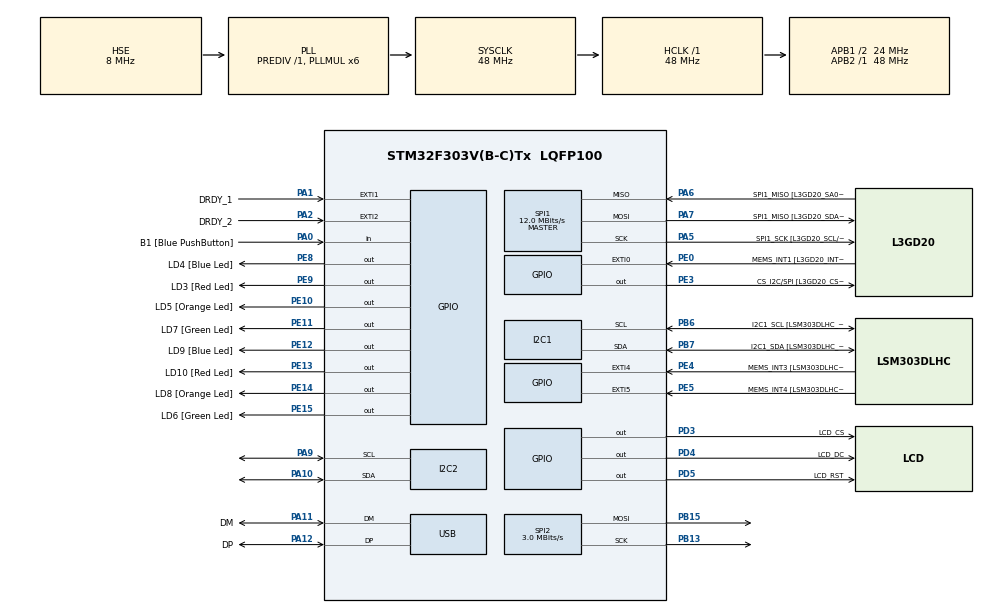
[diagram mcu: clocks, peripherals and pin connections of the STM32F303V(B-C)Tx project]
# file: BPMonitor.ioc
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Dma.Request0=SPI2_TX
Dma.SPI2_TX.0.Direction=DMA_MEMORY_TO_PERIPH
Dma.SPI2_TX.0.Instance=DMA1_Channel5
Dma.SPI2_TX.0.MemDataAlignment=DMA_MDATAALIGN_BYTE
Dma.SPI2_TX.0.MemInc=DMA_MINC_ENABLE
Dma.SPI2_TX.0.Mode=DMA_NORMAL
Dma.SPI2_TX.0.PeriphDataAlignment=DMA_PDATAALIGN_BYTE
Dma.SPI2_TX.0.PeriphInc=DMA_PINC_DISABLE
Dma.SPI2_TX.0.Priority=DMA_PRIORITY_LOW
I2C1.Timing=0x00201D2B
I2C1.Timing-I2C=0x2000090E
I2C2.Timing=0x00201D2B
Mcu.Family=STM32F3
Mcu.Name=STM32F303V(B-C)Tx
Mcu.Package=LQFP100
NVIC.DMA1_Channel5_IRQn=true\:0\:0\:false\:false\:true\:false\:true\:true
NVIC.EXTI1_IRQn=true\:0\:0\:false\:false\:true\:true\:true\:true
NVIC.EXTI2_TSC_IRQn=true\:0\:0\:false\:false\:true\:true\:true\:true
NVIC.I2C2_ER_IRQn=true\:0\:0\:false\:false\:true\:true\:true\:true
NVIC.I2C2_EV_IRQn=true\:0\:0\:false\:false\:true\:true\:true\:true
NVIC.PriorityGroup=NVIC_PRIORITYGROUP_0
NVIC.SPI2_IRQn=true\:0\:0\:false\:false\:true\:true\:true\:true
PA0.GPIO_Label=B1 [Blue PushButton]
PA0.Signal=GPIO_Input
PA1.GPIO_Label=DRDY_1
PA1.GPIO_ModeDefaultEXTI=GPIO_MODE_IT_FALLING
PA1.GPIO_PuPd=GPIO_PULLUP
PA1.Signal=GPXTI1
PA10.GPIO_Pu=GPIO_PULLUP
PA10.Mode=I2C
PA10.Signal=I2C2_SDA
PA11.GPIO_Label=DM
PA11.Mode=Device
PA11.Signal=USB_DM
PA12.GPIO_Label=DP
PA12.Mode=Device
PA12.Signal=USB_DP
PA13.GPIO_Label=SWDIO
PA13.Mode=Trace_Asynchronous_SW
PA13.Signal=SYS_JTMS-SWDIO
PA14.GPIO_Label=SWCLK
PA14.Mode=Trace_Asynchronous_SW
PA14.Signal=SYS_JTCK-SWCLK
PA2.GPIO_Label=DRDY_2
PA2.GPIO_ModeDefaultEXTI=GPIO_MODE_IT_FALLING
PA2.GPIO_PuPd=GPIO_PULLUP
PA2.Signal=GPXTI2
PA5.GPIO_Label=SPI1_SCK [L3GD20_SCL/SPC]
PA5.Mode=Full_Duplex_Master
PA5.Signal=SPI1_SCK
PA6.GPIO_Label=SPI1_MISO [L3GD20_SA0/SDO]
PA6.Mode=Full_Duplex_Master
PA6.Signal=SPI1_MISO
PA7.GPIO_Label=SPI1_MISO [L3GD20_SDA/SDI/SDO]
PA7.Mode=Full_Duplex_Master
PA7.Signal=SPI1_MOSI
PA9.GPIO_Pu=GPIO_PULLUP
PA9.Mode=I2C
PA9.Signal=I2C2_SCL
PB13.Mode=TX_Only_Simplex_Unidirect_Master
PB13.Signal=SPI2_SCK
PB15.Mode=TX_Only_Simplex_Unidirect_Master
PB15.Signal=SPI2_MOSI
PB3.GPIO_Label=SWO
PB3.Mode=Trace_Asynchronous_SW
PB3.Signal=SYS_JTDO-TRACESWO
PB6.GPIO_Label=I2C1_SCL [LSM303DLHC_SCL]
PB6.GPIO_Pu=GPIO_PULLUP
PB6.Mode=I2C
PB6.Signal=I2C1_SCL
PB7.GPIO_Label=I2C1_SDA [LSM303DLHC_SDA]
PB7.GPIO_Pu=GPIO_PULLUP
PB7.Mode=I2C
PB7.Signal=I2C1_SDA
PC14-OSC32_IN.GPIO_Label=OSC32_IN
PC14-OSC32_IN.Signal=RCC_OSC32_IN
PC15-OSC32_OUT.GPIO_Label=OSC32_OUT
PC15-OSC32_OUT.Signal=RCC_OSC32_OUT
PD3.GPIO_Label=LCD_CS
PD3.GPIO_Speed=GPIO_SPEED_FREQ_HIGH
PD3.Signal=GPIO_Output
PD4.GPIO_Label=LCD_DC
PD4.GPIO_Speed=GPIO_SPEED_FREQ_HIGH
PD4.Signal=GPIO_Output
PD5.GPIO_Label=LCD_RST
PD5.Signal=GPIO_Output
PE0.GPIO_Label=MEMS_INT1 [L3GD20_INT1]
PE0.GPIO_ModeDefaultEXTI=GPIO_MODE_EVT_RISING
PE0.Signal=GPXTI0
PE10.GPIO_Label=LD5 [Orange Led]
PE10.Signal=GPIO_Output
PE11.GPIO_Label=LD7 [Green Led]
PE11.Signal=GPIO_Output
PE12.GPIO_Label=LD9 [Blue Led]
PE12.Signal=GPIO_Output
PE13.GPIO_Label=LD10 [Red Led]
PE13.Signal=GPIO_Output
PE14.GPIO_Label=LD8 [Orange Led]
PE14.Signal=GPIO_Output
PE15.GPIO_Label=LD6 [Green Led]
PE15.Signal=GPIO_Output
PE3.GPIO_Label=CS_I2C/SPI [L3GD20_CS_I2C/SPI]
PE3.Signal=GPIO_Output
PE4.GPIO_Label=MEMS_INT3 [LSM303DLHC_INT1]
PE4.GPIO_ModeDefaultEXTI=GPIO_MODE_EVT_RISING
PE4.Signal=GPXTI4
PE5.GPIO_Label=MEMS_INT4 [LSM303DLHC_INT2]
PE5.GPIO_ModeDefaultEXTI=GPIO_MODE_EVT_RISING
PE5.Signal=GPXTI5
PE8.GPIO_Label=LD4 [Blue Led]
PE8.Signal=GPIO_Output
PE9.GPIO_Label=LD3 [Red Led]
PE9.Signal=GPIO_Output
PF0-OSC_IN.GPIO_Label=OSC_IN
PF0-OSC_IN.Mode=HSE-External-Clock-Source
PF0-OSC_IN.Signal=RCC_OSC_IN
PF1-OSC_OUT.GPIO_Label=OSC_OUT
PF1-OSC_OUT.Signal=RCC_OSC_OUT
ProjectManager.HeapSize=0x200
ProjectManager.StackSize=0x400
ProjectManager.TargetToolchain=STM32CubeIDE
RCC.AHBFreq_Value=48000000
RCC.APB1CLKDivider=RCC_HCLK_DIV2
RCC.APB1Freq_Value=24000000
RCC.APB1TimFreq_Value=48000000
RCC.APB2Freq_Value=48000000
RCC.APB2TimFreq_Value=48000000
RCC.CortexFreq_Value=48000000
RCC.HCLKFreq_Value=48000000
RCC.HSE_VALUE=8000000
RCC.HSI_VALUE=8000000
RCC.LSE_VALUE=32768
RCC.PLLMUL=RCC_PLL_MUL6
RCC.SYSCLKFreq_VALUE=48000000
RCC.SYSCLKSourceVirtual=RCC_SYSCLKSOURCE_PLLCLK
RCC.USBFreq_Value=48000000
SPI1.BaudRatePrescaler=SPI_BAUDRATEPRESCALER_4
SPI1.BaudRatePrescaler-Full_Duplex_Master=SPI_BAUDRATEPRESCALER_2
SPI1.CalculateBaudRate=12.0 MBits/s
SPI1.CalculateBaudRate-Full_Duplex_Master=24.0 MBits/s
SPI1.Direction=SPI_DIRECTION_2LINES
SPI1.Mode=SPI_MODE_MASTER
SPI1.Mode-Full_Duplex_Master=SPI_MODE_MASTER
SPI1.VirtualType=VM_MASTER
SPI2.BaudRatePrescaler=SPI_BAUDRATEPRESCALER_8
SPI2.CalculateBaudRate=3.0 MBits/s
SPI2.DataSize=SPI_DATASIZE_8BIT
SPI2.Direction=SPI_DIRECTION_2LINES
SPI2.Mode=SPI_MODE_MASTER
SPI2.NSSPMode=SPI_NSS_PULSE_DISABLE
SPI2.VirtualType=VM_MASTER
board=STM32F3DISCOVERY

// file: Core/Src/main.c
/* USER CODE BEGIN Header */
/**
 ******************************************************************************
 * @file           : main.c
 * @brief          : Main program body
 ******************************************************************************
 * @attention
 *
 * Copyright (c) 2026 STMicroelectronics.
 * All rights reserved.
 *
 * This software is licensed under terms that can be found in the LICENSE file
 * in the root directory of this software component.
 * If no LICENSE file comes with this software, it is provided AS-IS.
 *
 ******************************************************************************
 */
/* USER CODE END Header */
#include "main.h"

/* USER CODE BEGIN Includes */

#include <stdio.h>
#include "ili9341.h"
#include "fonts.h"

/* USER CODE END Includes */

/* USER CODE BEGIN PTD */

typedef enum {
	MAX30102_OK = 0,
	MAX30102_ERROR_I2C,
	MAX30102_ERROR_NOT_FOUND,
	MAX30102_ERROR_BAD_ID,
	MAX30102_ERROR_CONFIG,
	MAX30102_ERROR_FIFO
} MAX30102_Status;

typedef struct {
	uint32_t timestamp_ir_ms;
	uint32_t timestamp_gr_ms;
	uint32_t red1;
	uint32_t ir1;
	uint32_t green2;
} PPG_DataPoint;

/* USER CODE END PTD */

/* USER CODE BEGIN PD */

/* BELOW: REGISTER MAP FOR MAX30102 */

#define MAX30102_ADDR (0x57 << 1) // 7-bit I2C address, with required left shift

/* Status */
#define MAX30102_REG_INT_STATUS1 0x00
#define MAX30102_REG_INT_STATUS2 0x01
#define MAX30102_REG_INT_ENABLE1 0x02
#define MAX30102_REG_INT_ENABLE2 0x03

/* FIFO */
#define MAX30102_REG_FIFO_WR_PTR 0x04
#define MAX30102_REG_OVF_COUNTER 0x05
#define MAX30102_REG_FIFO_RD_PTR 0x06
#define MAX30102_REG_FIFO_DATA 0x07
#define MAX30102_REG_FIFO_CONFIG 0x08

/* Configuration */
#define MAX30102_REG_MODE_CONFIG 0x09
#define MAX30102_REG_SPO2_CONFIG 0x0A
#define MAX30102_REG_LED1_PA 0x0C
#define MAX30102_REG_LED2_PA 0x0D

/* Identification */
#define MAX30102_REG_REV_ID 0xFE
#define MAX30102_REG_PART_ID 0xFF
#define MAX30102_EXPECTED_ID 0x15

/* MAX30101 additional registers */
#define MAX30101_REG_LED3_PA          0x0E
#define MAX30101_REG_LED4_PA          0x0F
#define MAX30101_REG_MULTI_LED_CTRL1  0x11
#define MAX30101_REG_MULTI_LED_CTRL2  0x12

/* Temporary threshold for initial green testing */
#define SENSOR2_GREEN_THRESHOLD  0

#define PPG_BUFFER_SIZE 100

#define EVENT_THRESHOLD 0 // arbitrary

// VARYING CURRENT FOR MAX30102 Sensors
/* Sensor 1: Finger */
#define SENSOR1_RED_CURRENT  0x00 // off
#define SENSOR1_IR_CURRENT   0x0F
#define SENSOR2_GREEN_CURRENT 0x3F

/* Forced Counter Delay */
#define WARMUP_SAMPLES 200
#define MAX_PPG_SAMPLES 700

/* USER CODE END PD */

I2C_HandleTypeDef hi2c1;
I2C_HandleTypeDef hi2c2;

SPI_HandleTypeDef hspi1;
SPI_HandleTypeDef hspi2;
DMA_HandleTypeDef hdma_spi2_tx;

PCD_HandleTypeDef hpcd_USB_FS;

/* USER CODE BEGIN PV */

/* Global Sample Variables for Debug View */
uint32_t ppg_red1 = 0;
uint32_t ppg_ir1 = 0;
uint32_t ppg_green2 = 0;

/* Error Case Store */
MAX30102_Status sensor_status1 = MAX30102_OK;
MAX30102_Status sensor_status2 = MAX30102_OK;
volatile uint32_t i2c_error_count1 = 0;
volatile uint32_t i2c_last_error1 = 0;
volatile uint32_t i2c_error_count2 = 0;
volatile uint32_t i2c_last_error2 = 0;

/* Debug Variable for MAX30102 Connection */
HAL_StatusTypeDef max30102_status1;
HAL_StatusTypeDef max30102_status2;

/* Total samples collected from both sensors */
uint32_t ppg_sample_count = 0;
uint32_t ppg_last_sample_time = 0;

uint32_t ppg_fifo_error_count1 = 0;
uint32_t ppg_fifo_error_count2 = 0;

/* Storing PPG data */
PPG_DataPoint ppg_buffer[PPG_BUFFER_SIZE];
uint16_t ppg_write_index = 0;

/* Event Flag */
volatile uint8_t max30102_data_ready1 = 0;
volatile uint8_t max30102_data_ready2 = 0;
volatile uint32_t interrupt_count1 = 0;
volatile uint32_t interrupt_count2 = 0;

uint8_t pulse1_present = 0;
uint8_t pulse2_present = 0;

/* Forced Delay */
uint8_t sensor1_warmup_count = 0;
uint8_t sensor2_warmup_count = 0;

uint32_t acquisition_start_ms = 0;

/* Indicates each sensor has a new accepted sample */
uint8_t sensor1_new_sample = 0;
uint8_t sensor2_new_sample = 0;

/* Individual timestamps for latest accepted samples */
uint32_t ppg_ir_timestamp_ms = 0;
uint32_t ppg_green_timestamp_ms = 0;

/* Count accepted samples overwritten before CSV pairing */
uint32_t ir_overwrite_count = 0;
uint32_t green_overwrite_count = 0;

/* USER CODE END PV */

void SystemClock_Config(void);
static void MX_GPIO_Init(void);
static void MX_DMA_Init(void);
static void MX_I2C1_Init(void);
static void MX_SPI1_Init(void);
static void MX_USB_PCD_Init(void);
static void MX_I2C2_Init(void);
static void MX_SPI2_Init(void);
/* USER CODE BEGIN PFP */

HAL_StatusTypeDef MAX30102_WriteReg(I2C_HandleTypeDef *hi2c, uint8_t reg,
		uint8_t value);
HAL_StatusTypeDef MAX30102_ReadReg(I2C_HandleTypeDef *hi2c, uint8_t reg,
		uint8_t *value);

HAL_StatusTypeDef MAX30102_Reset(I2C_HandleTypeDef *hi2c);
HAL_StatusTypeDef MAX30102_Init(I2C_HandleTypeDef *hi2c);

uint8_t MAX30102_SamplesAvailable(I2C_HandleTypeDef *hi2c);
HAL_StatusTypeDef MAX30102_ReadSample(I2C_HandleTypeDef *hi2c, uint32_t *red,
		uint32_t *ir);

void PPG_HandleSample(uint8_t sensor_number, uint32_t red, uint32_t ir,
		uint32_t green);

void PPG_StoreSample(uint32_t timestamp_ir_ms, uint32_t timestamp_gr_ms,
		uint32_t red1, uint32_t ir1, uint32_t green2);

/* Interrupt */
void HAL_GPIO_EXTI_Callback(uint16_t GPIO_Pin); // Interrupt Callback
void PPG_HandleInterrupt(I2C_HandleTypeDef *hi2c, uint8_t sensor_number);

/* Varing Current */
HAL_StatusTypeDef MAX30102_SetLEDCurrent(I2C_HandleTypeDef *hi2c,
		uint8_t red_current, uint8_t ir_current);

/* Initialization for MAX30101 */
HAL_StatusTypeDef MAX30101_InitGreen(I2C_HandleTypeDef *hi2c);

/* Read Green Light Sensor Data */
HAL_StatusTypeDef MAX30101_ReadGreen(I2C_HandleTypeDef *hi2c, uint32_t *green);

/* Stop/Shut-Down Fx */
HAL_StatusTypeDef MAX3010x_Shutdown(I2C_HandleTypeDef *hi2c);

/* USER CODE END PFP */

/* USER CODE BEGIN 0 */

/*
 * SWV ITM Data Console
 *
 * For CSV Exporting
 *
 */
int __io_putchar(int ch) {
	ITM_SendChar(ch);
	return ch;
}

/* USER CODE END 0 */

int main(void)
{

  /* MCU Configuration--------------------------------------------------------*/

  /* Reset of all peripherals, Initializes the Flash interface and the Systick. */
  HAL_Init();

  /* Configure the system clock */
  SystemClock_Config();

  /* Initialize all configured peripherals */
  MX_GPIO_Init();
  MX_DMA_Init();
  MX_I2C1_Init();
  MX_SPI1_Init();
  MX_USB_PCD_Init();
  MX_I2C2_Init();
  MX_SPI2_Init();
  /* USER CODE BEGIN 2 */

  //display stuff
  //ILI9341_Unselect();
  ILI9341_Init(); //ILI9341_InvertColors(true);
  ILI9341_FillScreen(ILI9341_GREEN);
  ILI9341_WriteString(5, 5, "Does This Work", Font_16x26, ILI9341_WHITE, ILI9341_BLACK);
//  while (1) {
//	  ILI9341_FillScreen(ILI9341_GREEN);
//      HAL_GPIO_TogglePin(GPIOE, GPIO_PIN_8);   // blue LED; set PE8 as GPIO_Output in CubeMX
//      HAL_Delay(500);
//  }

	/* REAL Communication with MAX30102 */

	// Register Checks
	uint8_t id1;
	uint8_t id2;

	/* Sensor 1 */

	max30102_status1 = HAL_I2C_IsDeviceReady(&hi2c1,
	MAX30102_ADDR, 3, 100);

	if (max30102_status1 != HAL_OK) {
		sensor_status1 = MAX30102_ERROR_NOT_FOUND;
		Error_Handler();
	}

	if (MAX30102_ReadReg(&hi2c1, MAX30102_REG_PART_ID, &id1) != HAL_OK) {
		sensor_status1 = MAX30102_ERROR_I2C;
		Error_Handler();
	}

	if (id1 != MAX30102_EXPECTED_ID) {
		sensor_status1 = MAX30102_ERROR_BAD_ID;
		Error_Handler();
	}

	if (MAX30102_Init(&hi2c1) != HAL_OK) {
		sensor_status1 = MAX30102_ERROR_CONFIG;
		Error_Handler();
	}

	/* Sensor 2 */

	max30102_status2 = HAL_I2C_IsDeviceReady(&hi2c2,
	MAX30102_ADDR, 3, 100);

	if (max30102_status2 != HAL_OK) {
		sensor_status2 = MAX30102_ERROR_NOT_FOUND;
		Error_Handler();
	}

	if (MAX30102_ReadReg(&hi2c2, MAX30102_REG_PART_ID, &id2) != HAL_OK) {
		sensor_status2 = MAX30102_ERROR_I2C;
		Error_Handler();
	}

	if (id2 != MAX30102_EXPECTED_ID) { // SAME ID FOR MAX30101, 0x15
		sensor_status2 = MAX30102_ERROR_BAD_ID;
		Error_Handler();
	}

	if (MAX30101_InitGreen(&hi2c2) != HAL_OK) {
		sensor_status2 = MAX30102_ERROR_CONFIG;
		Error_Handler();
	}

	/* Clear any existing interrupt */
	uint8_t dummy_status;

	/* Clear Sensor 1 */
	MAX30102_ReadReg(&hi2c1, MAX30102_REG_INT_STATUS1, &dummy_status);

	MAX30102_ReadReg(&hi2c1, MAX30102_REG_INT_STATUS2, &dummy_status);

	/* Clear Sensor 2 */
	MAX30102_ReadReg(&hi2c2, MAX30102_REG_INT_STATUS1, &dummy_status);

	MAX30102_ReadReg(&hi2c2, MAX30102_REG_INT_STATUS2, &dummy_status);

	// Clear Interrupt Pins
	__HAL_GPIO_EXTI_CLEAR_IT(DRDY_1_Pin);
	__HAL_GPIO_EXTI_CLEAR_IT(DRDY_2_Pin);

	/*
	 *
	 * SUCCESSFUL INITIALIZATION OF MAX30102
	 *
	 * Clock now synchronized with SWV ITM Data Console
	 */

	// Header Line for CSV
	//printf("Timestamp_ms,Sensor,RED-1_PPG,IR-1_PPG,GREEN-2_PPG\r\n");
	printf("Timestamp_IR_ms,IR_PPG,Timestamp_GR_ms,GREEN_PPG\r\n");

  /* USER CODE END 2 */

  /* Infinite loop */
  /* USER CODE BEGIN WHILE */

	/* Shared starting point */
	acquisition_start_ms = HAL_GetTick();

	/* Collect combined samples until limit */
	while (ppg_sample_count < MAX_PPG_SAMPLES) {

		/* Sensor 1: MAX30102 */
		if (max30102_data_ready1) {

			max30102_data_ready1 = 0;

			PPG_HandleInterrupt(&hi2c1, 1);
		}

		/* Check sample limit */
		if (ppg_sample_count >= MAX_PPG_SAMPLES) {
			break;
		}

		/* Sensor 2: MAX30101 */
		if (max30102_data_ready2) {

			max30102_data_ready2 = 0;

			PPG_HandleInterrupt(&hi2c2, 2);
		}
	}

	/* Disable GPIO interrupts */
	HAL_NVIC_DisableIRQ(EXTI1_IRQn);
	HAL_NVIC_DisableIRQ(EXTI2_TSC_IRQn);

	/* Shut down both sensors */
	HAL_StatusTypeDef stop_status1 = MAX3010x_Shutdown(&hi2c1);

	HAL_StatusTypeDef stop_status2 = MAX3010x_Shutdown(&hi2c2);

	/* Verify successful shutdown */
	if (stop_status1 != HAL_OK || stop_status2 != HAL_OK) {

		Error_Handler();
	}

	/* Suspend SysTick */
	HAL_SuspendTick();

	/* Enter MCU idle state */
	while (1) {
		__WFI();
	}

    /* USER CODE END WHILE */

}

void SystemClock_Config(void)
{
  RCC_OscInitTypeDef RCC_OscInitStruct = {0};
  RCC_ClkInitTypeDef RCC_ClkInitStruct = {0};
  RCC_PeriphCLKInitTypeDef PeriphClkInit = {0};

  /** Initializes the RCC Oscillators according to the specified parameters
  * in the RCC_OscInitTypeDef structure.
  */
  RCC_OscInitStruct.OscillatorType = RCC_OSCILLATORTYPE_HSI|RCC_OSCILLATORTYPE_HSE;
  RCC_OscInitStruct.HSEState = RCC_HSE_BYPASS;
  RCC_OscInitStruct.HSEPredivValue = RCC_HSE_PREDIV_DIV1;
  RCC_OscInitStruct.HSIState = RCC_HSI_ON;
  RCC_OscInitStruct.HSICalibrationValue = RCC_HSICALIBRATION_DEFAULT;
  RCC_OscInitStruct.PLL.PLLState = RCC_PLL_ON;
  RCC_OscInitStruct.PLL.PLLSource = RCC_PLLSOURCE_HSE;
  RCC_OscInitStruct.PLL.PLLMUL = RCC_PLL_MUL6;
  if (HAL_RCC_OscConfig(&RCC_OscInitStruct) != HAL_OK)
  {
    Error_Handler();
  }

  /** Initializes the CPU, AHB and APB buses clocks
  */
  RCC_ClkInitStruct.ClockType = RCC_CLOCKTYPE_HCLK|RCC_CLOCKTYPE_SYSCLK
                              |RCC_CLOCKTYPE_PCLK1|RCC_CLOCKTYPE_PCLK2;
  RCC_ClkInitStruct.SYSCLKSource = RCC_SYSCLKSOURCE_PLLCLK;
  RCC_ClkInitStruct.AHBCLKDivider = RCC_SYSCLK_DIV1;
  RCC_ClkInitStruct.APB1CLKDivider = RCC_HCLK_DIV2;
  RCC_ClkInitStruct.APB2CLKDivider = RCC_HCLK_DIV1;

  if (HAL_RCC_ClockConfig(&RCC_ClkInitStruct, FLASH_LATENCY_1) != HAL_OK)
  {
    Error_Handler();
  }
  PeriphClkInit.PeriphClockSelection = RCC_PERIPHCLK_USB|RCC_PERIPHCLK_I2C1
                              |RCC_PERIPHCLK_I2C2;
  PeriphClkInit.I2c1ClockSelection = RCC_I2C1CLKSOURCE_HSI;
  PeriphClkInit.I2c2ClockSelection = RCC_I2C2CLKSOURCE_HSI;
  PeriphClkInit.USBClockSelection = RCC_USBCLKSOURCE_PLL;
  if (HAL_RCCEx_PeriphCLKConfig(&PeriphClkInit) != HAL_OK)
  {
    Error_Handler();
  }
}

static void MX_I2C1_Init(void)
{

  hi2c1.Instance = I2C1;
  hi2c1.Init.Timing = 0x00201D2B;
  hi2c1.Init.OwnAddress1 = 0;
  hi2c1.Init.AddressingMode = I2C_ADDRESSINGMODE_7BIT;
  hi2c1.Init.DualAddressMode = I2C_DUALADDRESS_DISABLE;
  hi2c1.Init.OwnAddress2 = 0;
  hi2c1.Init.OwnAddress2Masks = I2C_OA2_NOMASK;
  hi2c1.Init.GeneralCallMode = I2C_GENERALCALL_DISABLE;
  hi2c1.Init.NoStretchMode = I2C_NOSTRETCH_DISABLE;
  if (HAL_I2C_Init(&hi2c1) != HAL_OK)
  {
    Error_Handler();
  }

  /** Configure Analogue filter
  */
  if (HAL_I2CEx_ConfigAnalogFilter(&hi2c1, I2C_ANALOGFILTER_ENABLE) != HAL_OK)
  {
    Error_Handler();
  }

  /** Configure Digital filter
  */
  if (HAL_I2CEx_ConfigDigitalFilter(&hi2c1, 0) != HAL_OK)
  {
    Error_Handler();
  }

}

static void MX_I2C2_Init(void)
{

  hi2c2.Instance = I2C2;
  hi2c2.Init.Timing = 0x00201D2B;
  hi2c2.Init.OwnAddress1 = 0;
  hi2c2.Init.AddressingMode = I2C_ADDRESSINGMODE_7BIT;
  hi2c2.Init.DualAddressMode = I2C_DUALADDRESS_DISABLE;
  hi2c2.Init.OwnAddress2 = 0;
  hi2c2.Init.OwnAddress2Masks = I2C_OA2_NOMASK;
  hi2c2.Init.GeneralCallMode = I2C_GENERALCALL_DISABLE;
  hi2c2.Init.NoStretchMode = I2C_NOSTRETCH_DISABLE;
  if (HAL_I2C_Init(&hi2c2) != HAL_OK)
  {
    Error_Handler();
  }

  /** Configure Analogue filter
  */
  if (HAL_I2CEx_ConfigAnalogFilter(&hi2c2, I2C_ANALOGFILTER_ENABLE) != HAL_OK)
  {
    Error_Handler();
  }

  /** Configure Digital filter
  */
  if (HAL_I2CEx_ConfigDigitalFilter(&hi2c2, 0) != HAL_OK)
  {
    Error_Handler();
  }

}

static void MX_SPI1_Init(void)
{

  /* SPI1 parameter configuration*/
  hspi1.Instance = SPI1;
  hspi1.Init.Mode = SPI_MODE_MASTER;
  hspi1.Init.Direction = SPI_DIRECTION_2LINES;
  hspi1.Init.DataSize = SPI_DATASIZE_4BIT;
  hspi1.Init.CLKPolarity = SPI_POLARITY_LOW;
  hspi1.Init.CLKPhase = SPI_PHASE_1EDGE;
  hspi1.Init.NSS = SPI_NSS_SOFT;
  hspi1.Init.BaudRatePrescaler = SPI_BAUDRATEPRESCALER_4;
  hspi1.Init.FirstBit = SPI_FIRSTBIT_MSB;
  hspi1.Init.TIMode = SPI_TIMODE_DISABLE;
  hspi1.Init.CRCCalculation = SPI_CRCCALCULATION_DISABLE;
  hspi1.Init.CRCPolynomial = 7;
  hspi1.Init.CRCLength = SPI_CRC_LENGTH_DATASIZE;
  hspi1.Init.NSSPMode = SPI_NSS_PULSE_ENABLE;
  if (HAL_SPI_Init(&hspi1) != HAL_OK)
  {
    Error_Handler();
  }

}

static void MX_SPI2_Init(void)
{

  /* SPI2 parameter configuration*/
  hspi2.Instance = SPI2;
  hspi2.Init.Mode = SPI_MODE_MASTER;
  hspi2.Init.Direction = SPI_DIRECTION_2LINES;
  hspi2.Init.DataSize = SPI_DATASIZE_8BIT;
  hspi2.Init.CLKPolarity = SPI_POLARITY_LOW;
  hspi2.Init.CLKPhase = SPI_PHASE_1EDGE;
  hspi2.Init.NSS = SPI_NSS_SOFT;
  hspi2.Init.BaudRatePrescaler = SPI_BAUDRATEPRESCALER_8;
  hspi2.Init.FirstBit = SPI_FIRSTBIT_MSB;
  hspi2.Init.TIMode = SPI_TIMODE_DISABLE;
  hspi2.Init.CRCCalculation = SPI_CRCCALCULATION_DISABLE;
  hspi2.Init.CRCPolynomial = 7;
  hspi2.Init.CRCLength = SPI_CRC_LENGTH_DATASIZE;
  hspi2.Init.NSSPMode = SPI_NSS_PULSE_DISABLE;
  if (HAL_SPI_Init(&hspi2) != HAL_OK)
  {
    Error_Handler();
  }

}

static void MX_USB_PCD_Init(void)
{

  hpcd_USB_FS.Instance = USB;
  hpcd_USB_FS.Init.dev_endpoints = 8;
  hpcd_USB_FS.Init.speed = PCD_SPEED_FULL;
  hpcd_USB_FS.Init.phy_itface = PCD_PHY_EMBEDDED;
  hpcd_USB_FS.Init.low_power_enable = DISABLE;
  hpcd_USB_FS.Init.battery_charging_enable = DISABLE;
  if (HAL_PCD_Init(&hpcd_USB_FS) != HAL_OK)
  {
    Error_Handler();
  }

}

static void MX_DMA_Init(void)
{

  /* DMA controller clock enable */
  __HAL_RCC_DMA1_CLK_ENABLE();

  /* DMA interrupt init */
  /* DMA1_Channel5_IRQn interrupt configuration */
  HAL_NVIC_SetPriority(DMA1_Channel5_IRQn, 0, 0);
  HAL_NVIC_EnableIRQ(DMA1_Channel5_IRQn);

}

static void MX_GPIO_Init(void)
{
  GPIO_InitTypeDef GPIO_InitStruct = {0};

  /* GPIO Ports Clock Enable */
  __HAL_RCC_GPIOE_CLK_ENABLE();
  __HAL_RCC_GPIOC_CLK_ENABLE();
  __HAL_RCC_GPIOF_CLK_ENABLE();
  __HAL_RCC_GPIOA_CLK_ENABLE();
  __HAL_RCC_GPIOB_CLK_ENABLE();
  __HAL_RCC_GPIOD_CLK_ENABLE();

  /*Configure GPIO pin Output Level */
  HAL_GPIO_WritePin(GPIOE, CS_I2C_SPI_Pin|LD4_Pin|LD3_Pin|LD5_Pin
                          |LD7_Pin|LD9_Pin|LD10_Pin|LD8_Pin
                          |LD6_Pin, GPIO_PIN_RESET);

  /*Configure GPIO pin Output Level */
  HAL_GPIO_WritePin(GPIOD, LCD_CS_Pin|LCD_DC_Pin|LCD_RST_Pin, GPIO_PIN_RESET);

  /*Configure GPIO pins : CS_I2C_SPI_Pin LD4_Pin LD3_Pin LD5_Pin
                           LD7_Pin LD9_Pin LD10_Pin LD8_Pin
                           LD6_Pin */
  GPIO_InitStruct.Pin = CS_I2C_SPI_Pin|LD4_Pin|LD3_Pin|LD5_Pin
                          |LD7_Pin|LD9_Pin|LD10_Pin|LD8_Pin
                          |LD6_Pin;
  GPIO_InitStruct.Mode = GPIO_MODE_OUTPUT_PP;
  GPIO_InitStruct.Pull = GPIO_NOPULL;
  GPIO_InitStruct.Speed = GPIO_SPEED_FREQ_LOW;
  HAL_GPIO_Init(GPIOE, &GPIO_InitStruct);

  /*Configure GPIO pins : MEMS_INT3_Pin MEMS_INT4_Pin MEMS_INT1_Pin */
  GPIO_InitStruct.Pin = MEMS_INT3_Pin|MEMS_INT4_Pin|MEMS_INT1_Pin;
  GPIO_InitStruct.Mode = GPIO_MODE_EVT_RISING;
  GPIO_InitStruct.Pull = GPIO_NOPULL;
  HAL_GPIO_Init(GPIOE, &GPIO_InitStruct);

  /*Configure GPIO pin : B1_Pin */
  GPIO_InitStruct.Pin = B1_Pin;
  GPIO_InitStruct.Mode = GPIO_MODE_INPUT;
  GPIO_InitStruct.Pull = GPIO_NOPULL;
  HAL_GPIO_Init(B1_GPIO_Port, &GPIO_InitStruct);

  /*Configure GPIO pins : DRDY_1_Pin DRDY_2_Pin */
  GPIO_InitStruct.Pin = DRDY_1_Pin|DRDY_2_Pin;
  GPIO_InitStruct.Mode = GPIO_MODE_IT_FALLING;
  GPIO_InitStruct.Pull = GPIO_PULLUP;
  HAL_GPIO_Init(GPIOA, &GPIO_InitStruct);

  /*Configure GPIO pins : LCD_CS_Pin LCD_DC_Pin */
  GPIO_InitStruct.Pin = LCD_CS_Pin|LCD_DC_Pin;
  GPIO_InitStruct.Mode = GPIO_MODE_OUTPUT_PP;
  GPIO_InitStruct.Pull = GPIO_NOPULL;
  GPIO_InitStruct.Speed = GPIO_SPEED_FREQ_HIGH;
  HAL_GPIO_Init(GPIOD, &GPIO_InitStruct);

  /*Configure GPIO pin : LCD_RST_Pin */
  GPIO_InitStruct.Pin = LCD_RST_Pin;
  GPIO_InitStruct.Mode = GPIO_MODE_OUTPUT_PP;
  GPIO_InitStruct.Pull = GPIO_NOPULL;
  GPIO_InitStruct.Speed = GPIO_SPEED_FREQ_LOW;
  HAL_GPIO_Init(LCD_RST_GPIO_Port, &GPIO_InitStruct);

  /* EXTI interrupt init*/
  HAL_NVIC_SetPriority(EXTI1_IRQn, 0, 0);
  HAL_NVIC_EnableIRQ(EXTI1_IRQn);

  HAL_NVIC_SetPriority(EXTI2_TSC_IRQn, 0, 0);
  HAL_NVIC_EnableIRQ(EXTI2_TSC_IRQn);

}

/* USER CODE BEGIN 4 */

////
////
////
////
/* Write & Read Functions */
HAL_StatusTypeDef MAX30102_WriteReg(I2C_HandleTypeDef *hi2c, uint8_t reg,
		uint8_t value) {
	return HAL_I2C_Mem_Write(hi2c,
	MAX30102_ADDR, reg,
	I2C_MEMADD_SIZE_8BIT, &value, 1, 100);
}

HAL_StatusTypeDef MAX30102_ReadReg(I2C_HandleTypeDef *hi2c, uint8_t reg,
		uint8_t *value) {
	return HAL_I2C_Mem_Read(hi2c,
	MAX30102_ADDR, reg,
	I2C_MEMADD_SIZE_8BIT, value, 1, 100);
}

/* Reset Function */
HAL_StatusTypeDef MAX30102_Reset(I2C_HandleTypeDef *hi2c) {
	HAL_StatusTypeDef status;
	uint8_t mode;
	uint32_t timeout;

	/* Reset Bit */
	status = MAX30102_WriteReg(hi2c, MAX30102_REG_MODE_CONFIG, 0x40);

	if (status != HAL_OK)
		return status;

	timeout = HAL_GetTick();

	do {
		status = MAX30102_ReadReg(hi2c, MAX30102_REG_MODE_CONFIG, &mode);

		if (status != HAL_OK)
			return status;

		if ((mode & 0x40) == 0)
			return HAL_OK;

	} while ((HAL_GetTick() - timeout) < 100);

	return HAL_TIMEOUT;
}

/* MAX30102 Initialization */
HAL_StatusTypeDef MAX30102_Init(I2C_HandleTypeDef *hi2c) {
	HAL_StatusTypeDef status;

	status = MAX30102_Reset(hi2c);

	if (status != HAL_OK) {
		return status;
	}

	/* Clear FIFO write pointer */
	status = MAX30102_WriteReg(hi2c, MAX30102_REG_FIFO_WR_PTR, 0x00);

	if (status != HAL_OK) {
		return status;
	}

	/* Clear FIFO overflow counter */
	status = MAX30102_WriteReg(hi2c, MAX30102_REG_OVF_COUNTER, 0x00);

	if (status != HAL_OK) {
		return status;
	}

	/* Clear FIFO read pointer */
	status = MAX30102_WriteReg(hi2c, MAX30102_REG_FIFO_RD_PTR, 0x00);

	if (status != HAL_OK) {
		return status;
	}

	/* Configure FIFO */
	status = MAX30102_WriteReg(hi2c, MAX30102_REG_FIFO_CONFIG, 0x10);

	if (status != HAL_OK) {
		return status;
	}

	/* Sp02 Configuration
	 *
	 * Originally 0x27
	 *
	 */
	status = MAX30102_WriteReg(hi2c, MAX30102_REG_SPO2_CONFIG, 0x27);

	if (status != HAL_OK) {
		return status;
	}

	/* Set Red LED current */
	status = MAX30102_WriteReg(hi2c, MAX30102_REG_LED1_PA, SENSOR1_RED_CURRENT);

	if (status != HAL_OK) {
		return status;
	}

	/* Set IR LED current */
	status = MAX30102_WriteReg(hi2c, MAX30102_REG_LED2_PA, SENSOR1_IR_CURRENT);

	if (status != HAL_OK) {
		return status;
	}

	/* Enable PPG Ready interrupt */
	status = MAX30102_WriteReg(hi2c, MAX30102_REG_INT_ENABLE1, 0x40);

	if (status != HAL_OK) {
		return status;
	}

	/* Start SpO2 mode: Red + IR */
	status = MAX30102_WriteReg(hi2c, MAX30102_REG_MODE_CONFIG, 0x03);

	return status;

}

/* MAX30101 (GREEN) Initialization */

HAL_StatusTypeDef MAX30101_InitGreen(I2C_HandleTypeDef *hi2c) {
	HAL_StatusTypeDef status;

	/* Reset Sensor 2 */
	status = MAX30102_Reset(hi2c);
	if (status != HAL_OK)
		return status;

	/* Configure FIFO */
	status = MAX30102_WriteReg(hi2c,
	MAX30102_REG_FIFO_CONFIG, 0x10);
	if (status != HAL_OK)
		return status;

	/* 100 SPS, 18-bit ADC, 411 us pulse width */
	status = MAX30102_WriteReg(hi2c,
	MAX30102_REG_SPO2_CONFIG, 0x27);
	if (status != HAL_OK)
		return status;

	/* Disable Red LED current */
	status = MAX30102_WriteReg(hi2c,
	MAX30102_REG_LED1_PA, 0x00);
	if (status != HAL_OK)
		return status;

	/* Disable IR LED current */
	status = MAX30102_WriteReg(hi2c,
	MAX30102_REG_LED2_PA, 0x00);
	if (status != HAL_OK)
		return status;

	/* Configure both Green LED current drivers */
	status = MAX30102_WriteReg(hi2c,
	MAX30101_REG_LED3_PA, SENSOR2_GREEN_CURRENT);
	if (status != HAL_OK)
		return status;

	status = MAX30102_WriteReg(hi2c,
	MAX30101_REG_LED4_PA, SENSOR2_GREEN_CURRENT);
	if (status != HAL_OK)
		return status;

	/* Enable Green in SLOT1; disable SLOT2 */
	status = MAX30102_WriteReg(hi2c,
	MAX30101_REG_MULTI_LED_CTRL1, 0x03);
	if (status != HAL_OK)
		return status;

	/* Disable SLOT3 and SLOT4 */
	status = MAX30102_WriteReg(hi2c,
	MAX30101_REG_MULTI_LED_CTRL2, 0x00);
	if (status != HAL_OK)
		return status;

	/* Reset FIFO pointers */
	status = MAX30102_WriteReg(hi2c,
	MAX30102_REG_FIFO_WR_PTR, 0x00);
	if (status != HAL_OK)
		return status;

	status = MAX30102_WriteReg(hi2c,
	MAX30102_REG_OVF_COUNTER, 0x00);
	if (status != HAL_OK)
		return status;

	status = MAX30102_WriteReg(hi2c,
	MAX30102_REG_FIFO_RD_PTR, 0x00);
	if (status != HAL_OK)
		return status;

	/* Enable PPG Ready interrupt */
	status = MAX30102_WriteReg(hi2c,
	MAX30102_REG_INT_ENABLE1, 0x40);
	if (status != HAL_OK)
		return status;

	/* Start Multi-LED Mode */
	status = MAX30102_WriteReg(hi2c,
	MAX30102_REG_MODE_CONFIG, 0x07);

	return status;
}

/* Green Light Data Reading */
HAL_StatusTypeDef MAX30101_ReadGreen(I2C_HandleTypeDef *hi2c, uint32_t *green) {
	uint8_t data[3];
	HAL_StatusTypeDef status;

	/* Read one Green FIFO sample */
	status = HAL_I2C_Mem_Read(hi2c,
	MAX30102_ADDR,
	MAX30102_REG_FIFO_DATA,
	I2C_MEMADD_SIZE_8BIT, data, 3, 100);

	if (status != HAL_OK)
		return status;

	/* Convert 3 bytes into 18-bit ADC measurement */
	*green = ((uint32_t) data[0] << 16) | ((uint32_t) data[1] << 8)
			| (uint32_t) data[2];

	*green &= 0x3FFFF;

	return HAL_OK;
}

/* Samples Available Function */
uint8_t MAX30102_SamplesAvailable(I2C_HandleTypeDef *hi2c) {

	uint8_t write_ptr;
	uint8_t read_ptr;

	if (MAX30102_ReadReg(hi2c, MAX30102_REG_FIFO_WR_PTR, &write_ptr) != HAL_OK)
		return 0;

	if (MAX30102_ReadReg(hi2c, MAX30102_REG_FIFO_RD_PTR, &read_ptr) != HAL_OK)
		return 0;

	return (write_ptr - read_ptr) & 0x1F;
}

/* Read Sample Function */
HAL_StatusTypeDef MAX30102_ReadSample(I2C_HandleTypeDef *hi2c, uint32_t *red,
		uint32_t *ir) {

	uint8_t data[6];
	HAL_StatusTypeDef status;

	status = HAL_I2C_Mem_Read(hi2c,
	MAX30102_ADDR,
	MAX30102_REG_FIFO_DATA,
	I2C_MEMADD_SIZE_8BIT, data, 6, 100);

	if (status != HAL_OK)
		return status;

	*red = ((uint32_t) data[0] << 16) | ((uint32_t) data[1] << 8) | data[2];

	*ir = ((uint32_t) data[3] << 16) | ((uint32_t) data[4] << 8) | data[5];

	/* MAX30102 ADC data is 18 bits */
	*red &= 0x3FFFF;
	*ir &= 0x3FFFF;

	return HAL_OK;
}

void PPG_StoreSample(uint32_t timestamp_ir_ms, uint32_t timestamp_gr_ms,
		uint32_t red1, uint32_t ir1, uint32_t green2) {
	ppg_buffer[ppg_write_index].timestamp_ir_ms = timestamp_ir_ms;

	ppg_buffer[ppg_write_index].timestamp_gr_ms = timestamp_gr_ms;

	ppg_buffer[ppg_write_index].red1 = red1;
	ppg_buffer[ppg_write_index].ir1 = ir1;
	ppg_buffer[ppg_write_index].green2 = green2;

	ppg_write_index++;

	if (ppg_write_index >= PPG_BUFFER_SIZE) {
		ppg_write_index = 0;

		HAL_GPIO_TogglePin(LD4_GPIO_Port, LD4_Pin);
	}
}

void PPG_HandleSample(uint8_t sensor_number, uint32_t red, uint32_t ir,
		uint32_t green) {
	/* Sensor 1: MAX30102 Finger */
	if (sensor_number == 1) {

		if ((red > EVENT_THRESHOLD) && (ir > EVENT_THRESHOLD)) {

			/* Sensor 1 warm-up */
			if (sensor1_warmup_count < WARMUP_SAMPLES) {
				sensor1_warmup_count++;
				sensor1_new_sample = 0;
				return;
			}

			pulse1_present = 1;

			if (sensor1_new_sample) {
			    ir_overwrite_count++;
			}

			/* Update live debug variables */
			ppg_red1 = red;
			ppg_ir1 = ir;

			/* Timestamp latest accepted IR measurement */
			ppg_ir_timestamp_ms =
			    HAL_GetTick() - acquisition_start_ms;

			sensor1_new_sample = 1;

		} else {
			pulse1_present = 0;
			sensor1_new_sample = 0;
		}
	}

	/* Sensor 2: MAX30101 Wrist */
	else if (sensor_number == 2) {

		if (green > SENSOR2_GREEN_THRESHOLD) {

			/* Sensor 2 warm-up */
			if (sensor2_warmup_count < WARMUP_SAMPLES) {
				sensor2_warmup_count++;
				sensor2_new_sample = 0;
				return;
			}

			pulse2_present = 1;

			if (sensor2_new_sample) {
			    green_overwrite_count++;
			}

			/* Update live debug variable */
			ppg_green2 = green;

			/* Timestamp latest accepted Green measurement */
			ppg_green_timestamp_ms =
			    HAL_GetTick() - acquisition_start_ms;

			sensor2_new_sample = 1;

		} else {
			pulse2_present = 0;
			sensor2_new_sample = 0;
		}
	} else {
		return;
	}

	/* Store combined record when both sensors
	   have produced new accepted measurements */
	if (sensor1_new_sample &&
	    sensor2_new_sample &&
	    (ppg_sample_count < MAX_PPG_SAMPLES)) {

	    /* Store both timestamps and all PPG values */
	    PPG_StoreSample(
	        ppg_ir_timestamp_ms,
	        ppg_green_timestamp_ms,
	        ppg_red1,
	        ppg_ir1,
	        ppg_green2
	    );

	    /* Update sample counter */
	    ppg_sample_count++;

	    /* Time at which combined row was completed */
	    ppg_last_sample_time =
	        HAL_GetTick() - acquisition_start_ms;

	    /* CSV: IR timestamp, IR, Green timestamp, Green */
	    printf("%lu,%lu,%lu,%lu\r\n",
	        (unsigned long)ppg_ir_timestamp_ms,
	        (unsigned long)ppg_ir1,
	        (unsigned long)ppg_green_timestamp_ms,
	        (unsigned long)ppg_green2
	    );

	    /* Reset new-sample flags */
	    sensor1_new_sample = 0;
	    sensor2_new_sample = 0;
	}
}

/* Interrupt Function */
void HAL_GPIO_EXTI_Callback(uint16_t GPIO_Pin) {
	// Sensor 1
	if (GPIO_Pin == DRDY_1_Pin) {
		interrupt_count1++;
		max30102_data_ready1 = 1;

		/* Toggle LED every 50 interrupts */
		if ((interrupt_count1 % 50) == 0) {
			HAL_GPIO_TogglePin(LD3_GPIO_Port, LD3_Pin);
		}

	} else if (GPIO_Pin == DRDY_2_Pin) {
		interrupt_count2++;
		max30102_data_ready2 = 1;
		if ((interrupt_count2 % 50) == 0) {
			HAL_GPIO_TogglePin(LD10_GPIO_Port, LD10_Pin);
		}
	}
}

void PPG_HandleInterrupt(I2C_HandleTypeDef *hi2c, uint8_t sensor_number) {
	uint8_t interrupt_status;
	uint8_t samples;

	/* Read and clear interrupt status */
	if (MAX30102_ReadReg(hi2c,
	MAX30102_REG_INT_STATUS1, &interrupt_status) != HAL_OK) {

		if (sensor_number == 1) {
			i2c_error_count1++;
			i2c_last_error1 = HAL_I2C_GetError(hi2c);
			sensor_status1 = MAX30102_ERROR_I2C;
		} else if (sensor_number == 2) {
			i2c_error_count2++;
			i2c_last_error2 = HAL_I2C_GetError(hi2c);
			sensor_status2 = MAX30102_ERROR_I2C;
		}

		return;
	}

	/* Successful interrupt-status read */
	if (sensor_number == 1)
		sensor_status1 = MAX30102_OK;
	else if (sensor_number == 2)
		sensor_status2 = MAX30102_OK;

	/* Check PPG Ready interrupt */
	if (interrupt_status & 0x40) {

		samples = MAX30102_SamplesAvailable(hi2c);

		while (samples > 0) {

			/* Stop when combined sample limit is reached */
			if (ppg_sample_count >= MAX_PPG_SAMPLES) {
				break;
			}

			uint32_t ppg_red = 0;
			uint32_t ppg_ir = 0;
			uint32_t ppg_green = 0;

			HAL_StatusTypeDef read_status;

			/* Sensor 1: Red + IR */
			if (sensor_number == 1) {

				read_status = MAX30102_ReadSample(hi2c, &ppg_red, &ppg_ir);
			}

			/* Sensor 2: Green */
			else if (sensor_number == 2) {

				read_status = MAX30101_ReadGreen(hi2c, &ppg_green);
			} else {
				return;
			}

			if (read_status == HAL_OK) {

				PPG_HandleSample(sensor_number, ppg_red, ppg_ir, ppg_green);

			} else {

				if (sensor_number == 1) {
					ppg_fifo_error_count1++;
					i2c_error_count1++;
					i2c_last_error1 = HAL_I2C_GetError(hi2c);
					sensor_status1 = MAX30102_ERROR_FIFO;
				} else if (sensor_number == 2) {
					ppg_fifo_error_count2++;
					i2c_error_count2++;
					i2c_last_error2 = HAL_I2C_GetError(hi2c);
					sensor_status2 = MAX30102_ERROR_FIFO;
				}

				break;
			}

			samples--;
		}
	}
}

/* Configure MAX30102 LED Drive Current */
HAL_StatusTypeDef MAX30102_SetLEDCurrent(I2C_HandleTypeDef *hi2c,
		uint8_t red_current, uint8_t ir_current) {
	HAL_StatusTypeDef status;

	/* Configure RED LED current */
	status = MAX30102_WriteReg(hi2c, MAX30102_REG_LED1_PA, red_current);

	if (status != HAL_OK) {
		return status;
	}

	/* Configure IR LED current */
	status = MAX30102_WriteReg(hi2c, MAX30102_REG_LED2_PA, ir_current);

	if (status != HAL_OK) {
		return status;
	}

	return HAL_OK;
}

/* Shutdown MAX30101 or MAX30102 */
HAL_StatusTypeDef MAX3010x_Shutdown(I2C_HandleTypeDef *hi2c) {
	HAL_StatusTypeDef status;
	uint8_t mode;

	/* Disable sensor interrupts */
	status = MAX30102_WriteReg(hi2c,
	MAX30102_REG_INT_ENABLE1, 0x00);

	if (status != HAL_OK)
		return status;

	status = MAX30102_WriteReg(hi2c,
	MAX30102_REG_INT_ENABLE2, 0x00);

	if (status != HAL_OK)
		return status;

	/* Read existing sensor mode */
	status = MAX30102_ReadReg(hi2c,
	MAX30102_REG_MODE_CONFIG, &mode);

	if (status != HAL_OK)
		return status;

	/* Set shutdown bit while preserving mode */
	mode |= 0x80;

	status = MAX30102_WriteReg(hi2c,
	MAX30102_REG_MODE_CONFIG, mode);

	return status;
}

////
////
////
////

/* USER CODE END 4 */

void Error_Handler(void)
{
	__disable_irq();
	while (1) {
	}
}
